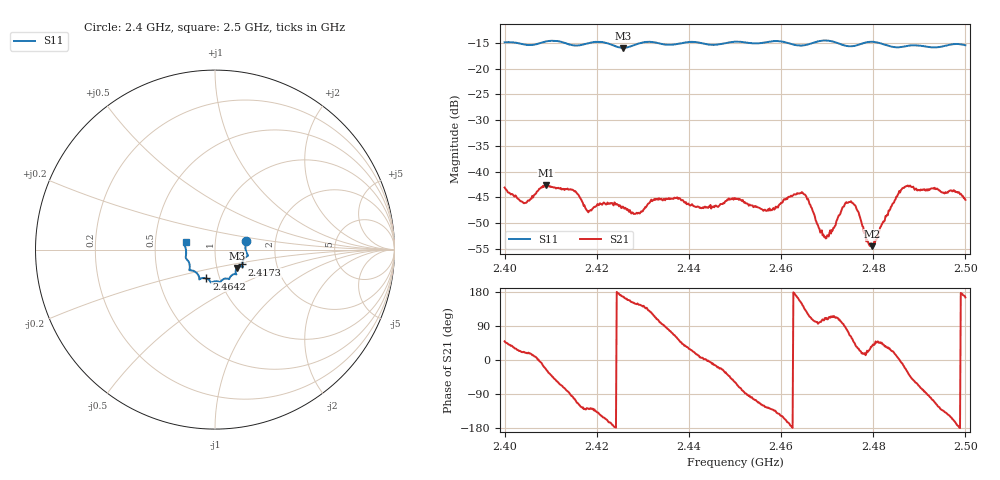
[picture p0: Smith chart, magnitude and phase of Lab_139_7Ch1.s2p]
# Hz S RI R 50
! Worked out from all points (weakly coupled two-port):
!   601 points, 2.4 GHz to 2.5 GHz, reference 50 ohm
!   highest |S21| = -42.60 dB at 2.409 GHz (marker M1); lowest = -54.5 dB at 2.4798 GHz (marker M2)
!   lowest |S11| = -15.9 dB at 2.4257 GHz (marker M3), VSWR 1.38, Z = 62.4 - j13.1 ohm
!   |S11| at or under -10 dB: start of sweep to end of sweep
!   S12 and S22 are empty: the file has one direction only
!   S11 on the Smith chart (normalised r, x): 2.4 GHz: 1.41, +0.14; 2.4173 GHz: 1.34, -0.23; 2.4642 GHz: 0.86, -0.29; 2.5 GHz: 0.72, +0.06
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2.4e9  0.1737 0.0492  0.00456 0.0053  0 0  0 0
2.404333e9  0.1706 0.0211  0.00463 0.0017  0 0  0 0
2.409e9  0.1819 -0.0284  0.00672 -0.00313  0 0  0 0
2.414833e9  0.1599 -0.0544  -0.000899 -0.00656  0 0  0 0
2.416667e9  0.1527 -0.0752  -0.00298 -0.00438  0 0  0 0
2.417333e9  0.152 -0.0825  -0.00294 -0.00367  0 0  0 0
2.425667e9  0.1223 -0.1025  -0.00445 0.00102  0 0  0 0
2.428833e9  0.1157 -0.1305  -0.00336 0.00199  0 0  0 0
2.433333e9  0.1127 -0.1365  -0.00144 0.00512  0 0  0 0
2.442833e9  0.0706 -0.1624  0.00441 0.000455  0 0  0 0
2.45e9  0.0295 -0.1807  0.00277 -0.00463  0 0  0 0
2.457167e9  -0.0149 -0.1815  -0.00249 -0.0035  0 0  0 0
2.464167e9  -0.0482 -0.161  -0.00557 0.00265  0 0  0 0
2.466667e9  -0.0763 -0.1594  -0.00135 0.00421  0 0  0 0
2.469833e9  -0.0876 -0.1666  -0.000809 0.0021  0 0  0 0
2.473667e9  -0.095 -0.1394  -4.74e-05 0.00459  0 0  0 0
2.475333e9  -0.1097 -0.1236  0.0027 0.00422  0 0  0 0
2.478833e9  -0.1403 -0.1156  0.00193 0.000763  0 0  0 0
2.479833e9  -0.1428 -0.1141  0.00147 0.00117  0 0  0 0
2.483333e9  -0.1406 -0.0894  0.0036 0.00211  0 0  0 0
2.4875e9  -0.158 -0.0536  0.00614 -0.00398  0 0  0 0
2.5e9  -0.1639 0.0418  -0.00514 0.00137  0 0  0 0
